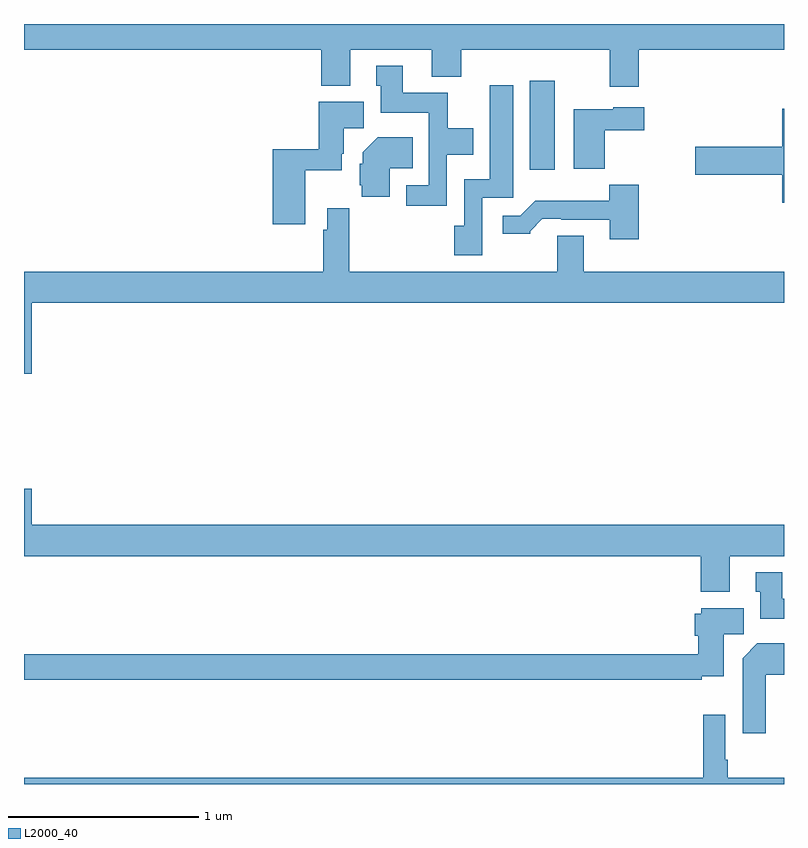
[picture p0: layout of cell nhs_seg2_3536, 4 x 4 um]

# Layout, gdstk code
import gdstk
lib = gdstk.Library(unit=1e-6, precision=1e-09)
def R(c, l, rs):  # rectangles x0, y0, x1, y1
    for r in rs: c.add(gdstk.rectangle(r[:2], r[2:], *l))
def P(c, l, *ps):  # polygons
    for p in ps: c.add(gdstk.Polygon(p, *l))
L2000_40 = (2000, 40)

nhs_seg2_3536 = lib.new_cell('nhs_seg2_3536')
R(nhs_seg2_3536, L2000_40, [(299.663,619.032,299.794,619.501)])
P(nhs_seg2_3536, L2000_40, [(300.236,619.664),(301,619.664),(301,619.8),(297,619.8),(297,619.664),(298.565,619.664),(298.565,619.475),(298.717,619.475),(298.717,619.664),(299.147,619.664),(299.147,619.523),(299.3,619.523),(299.3,619.664),(300.083,619.664),(300.083,619.47),(300.236,619.47)],
  [(299.226,619.112),(299.365,619.112),(299.365,619.252),(299.229,619.252),(299.229,619.438),(298.993,619.438),(298.993,619.579),(298.853,619.579),(298.853,619.476),(298.877,619.476),(298.877,619.334),(299.13,619.334),(299.13,618.951),(299.013,618.951),(299.013,618.843),(299.226,618.843)],
  [(299.412,618.885),(299.575,618.885),(299.575,619.477),(299.45,619.477),(299.45,618.982),(299.316,618.982),(299.316,618.738),(299.264,618.738),(299.264,618.582),(299.412,618.582)],
  [(298.48,619.031),(298.672,619.031),(298.672,619.116),(298.684,619.116),(298.684,619.252),(298.789,619.252),(298.789,619.39),(298.55,619.39),(298.55,619.141),(298.31,619.141),(298.31,618.747),(298.48,618.747)],
  [(300.056,619.241),(300.265,619.241),(300.265,619.363),(300.102,619.363),(300.102,619.351),(299.894,619.351),(299.894,619.037),(300.056,619.037)],
  [(301,619.353),(300.992,619.353),(300.992,619.154),(300.534,619.154),(300.534,619.007),(300.992,619.007),(300.992,618.86),(301,618.86)],
  [(298.924,619.04),(299.045,619.04),(299.045,619.204),(298.862,619.204),(298.784,619.126),(298.784,619.065),(298.766,619.065),(298.766,618.951),(298.777,618.951),(298.777,618.89),(298.924,618.89)],
  [(300.236,618.955),(300.081,618.955),(300.081,618.871),(299.692,618.871),(299.613,618.792),(299.52,618.792),(299.52,618.695),(299.664,618.695),(299.664,618.71),(299.728,618.774),(299.827,618.774),(299.827,618.771),(300.083,618.771),(300.083,618.666),(300.236,618.666)],
  [(297.04,618.332),(301,618.332),(301,618.496),(299.947,618.496),(299.947,618.686),(299.807,618.686),(299.807,618.496),(298.712,618.496),(298.712,618.829),(298.596,618.829),(298.596,618.716),(298.576,618.716),(298.576,618.496),(297,618.496),(297,617.958),(297.04,617.958)],
  [(300.715,617),(301,617),(301,617.164),(297.04,617.164),(297.04,617.353),(297,617.353),(297,617),(300.563,617),(300.563,616.811),(300.715,616.811)],
  [(301,616.774),(300.991,616.774),(300.991,616.915),(300.851,616.915),(300.851,616.812),(300.875,616.812),(300.875,616.67),(301,616.67)],
  [(300.566,616.367),(300.682,616.367),(300.682,616.588),(300.787,616.588),(300.787,616.726),(300.564,616.726),(300.564,616.695),(300.53,616.695),(300.53,616.581),(300.548,616.581),(300.548,616.484),(297,616.484),(297,616.348),(300.566,616.348)],
  [(300.904,616.376),(301,616.376),(301,616.54),(300.86,616.54),(300.782,616.462),(300.782,616.068),(300.904,616.068)],
  [(300.69,615.928),(300.69,616.165),(300.574,616.165),(300.574,615.832),(297,615.832),(297,615.8),(301,615.8),(301,615.832),(300.703,615.832),(300.703,615.928)])

lib.write_gds('nhs_seg2_3536.gds')
